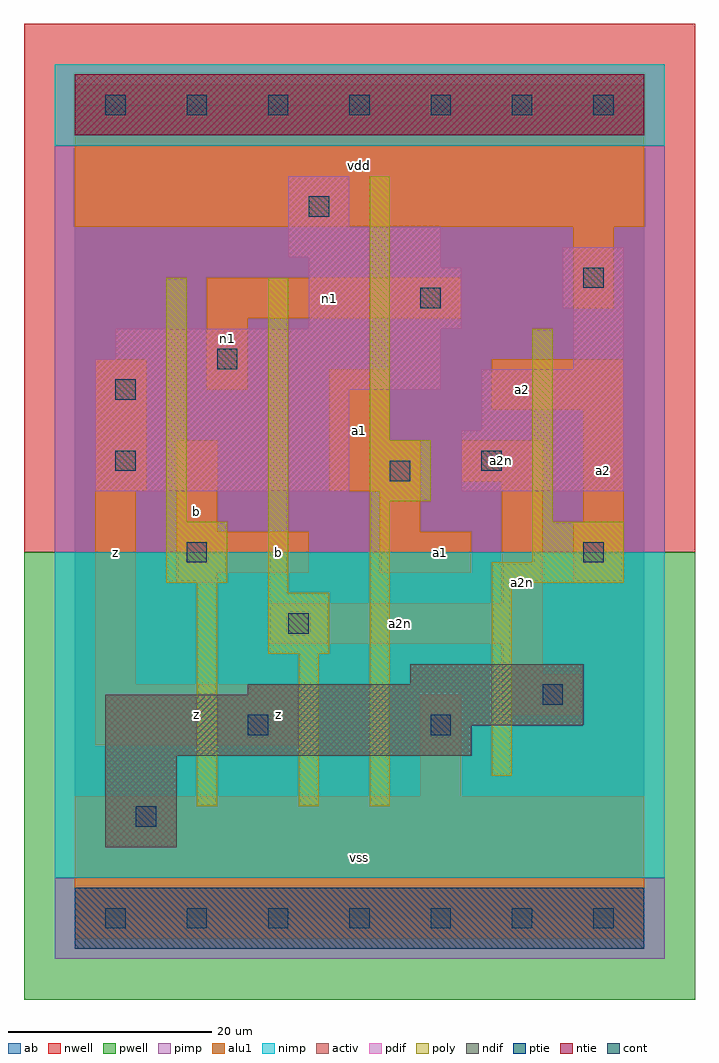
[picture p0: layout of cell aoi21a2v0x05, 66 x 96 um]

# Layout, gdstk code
import gdstk
lib = gdstk.Library(unit=1e-6, precision=1e-09)
def R(c, l, rs):  # rectangles x0, y0, x1, y1
    for r in rs: c.add(gdstk.rectangle(r[:2], r[2:], *l))
def A(c, l, x, y, w, h, nx, ny, dx, dy):  # array of equal rectangles
    R(c, l, [(x+i*dx, y+j*dy, x+i*dx+w, y+j*dy+h) for i in range(nx) for j in range(ny)])
ndif = (3, 0)
pdif = (4, 0)
ntie = (5, 0)
ptie = (6, 0)
cont = (25, 0)
pwell = (41, 0)
nwell = (42, 0)
activ = (43, 0)
pimp = (44, 0)
nimp = (45, 0)
poly = (46, 0)
alu1 = (49, 0)
ab = (63, 0)

aoi21a2v0x05 = lib.new_cell('aoi21a2v0x05')
R(aoi21a2v0x05, ndif, [(3,7,10,16), (3,16,39,19), (3,19,50,22), (17,22,50,23), (33,23,50,25)])
R(aoi21a2v0x05, pdif, [(2,42,27,52), (38,42,54,48), (40,48,54,54), (2,52,36,55), (49,54,54,60), (4,55,36,58), (23,58,38,64), (48,60,54,66), (23,64,36,65), (21,65,36,68), (21,68,27,73)])
R(aoi21a2v0x05, ntie, [(0,77,56,83)])
R(aoi21a2v0x05, ptie, [(0,-3,56,3)])
A(aoi21a2v0x05, cont, 3, -1, 2, 2, 7, 2, 8, 80)
R(aoi21a2v0x05, cont, [(6,9,8,11), (17,18,19,20), (35,18,37,20), (46,21,48,23), (21,28,23,30), (11,35,13,37), (50,35,52,37), (31,43,33,45), (4,44,6,46), (40,44,42,46), (4,51,6,53), (14,54,16,56), (34,60,36,62), (50,62,52,64), (23,69,25,71)])
R(aoi21a2v0x05, pwell, [(-5,-8,61,36)])
R(aoi21a2v0x05, nwell, [(-5,36,61,88)])
R(aoi21a2v0x05, activ, [(0,-3,56,3), (3,7,10,16), (3,16,39,19), (3,19,50,22), (17,22,50,23), (33,23,50,25), (2,42,27,52), (38,42,54,48), (40,48,54,54), (2,52,36,55), (49,54,54,60), (4,55,36,58), (23,58,38,64), (48,60,54,66), (23,64,36,65), (21,65,36,68), (21,68,27,73), (0,77,56,83)])
R(aoi21a2v0x05, pimp, [(-2,-4,58,4), (-2,36,58,76)])
R(aoi21a2v0x05, nimp, [(-2,4,58,36), (-2,76,58,84)])
R(aoi21a2v0x05, poly, [(12,11,14,33), (22,11,24,26), (29,11,31,41), (41,14,43,33), (19,26,25,32), (19,32,21,63), (9,33,15,39), (41,33,54,35), (45,35,54,39), (9,39,11,63), (45,39,47,58), (29,41,35,47), (29,47,31,73)])
R(aoi21a2v0x05, alu1, [(0,-2,56,12), (34,12,38,22), (2,17,22,23), (42,20,50,24), (2,23,6,42), (42,24,46,27), (19,27,46,31), (42,31,46,43), (10,33,14,34), (49,33,54,39), (10,34,23,38), (30,34,39,38), (10,38,14,47), (30,38,34,42), (50,39,54,50), (2,42,7,55), (25,42,34,47), (38,43,46,47), (25,47,31,54), (41,50,54,55), (13,52,17,59), (13,59,38,63), (49,60,53,68), (0,68,56,82)])
R(aoi21a2v0x05, ab, [(0,0,56,80)])
aoi21a2v0x05.add(gdstk.Label('n1', (15,57), layer=49, texttype=0))
aoi21a2v0x05.add(gdstk.Label('n1', (25,61), layer=49, texttype=0))
aoi21a2v0x05.add(gdstk.Label('a2n', (32,29), layer=49, texttype=0))
aoi21a2v0x05.add(gdstk.Label('a2n', (44,33), layer=49, texttype=0))
aoi21a2v0x05.add(gdstk.Label('a2n', (42,45), layer=49, texttype=0))
aoi21a2v0x05.add(gdstk.Label('z', (4,36), layer=49, texttype=0))
aoi21a2v0x05.add(gdstk.Label('z', (20,20), layer=49, texttype=0))
aoi21a2v0x05.add(gdstk.Label('z', (12,20), layer=49, texttype=0))
aoi21a2v0x05.add(gdstk.Label('b', (20,36), layer=49, texttype=0))
aoi21a2v0x05.add(gdstk.Label('b', (12,40), layer=49, texttype=0))
aoi21a2v0x05.add(gdstk.Label('vss', (28,6), layer=49, texttype=0))
aoi21a2v0x05.add(gdstk.Label('a1', (36,36), layer=49, texttype=0))
aoi21a2v0x05.add(gdstk.Label('a1', (28,48), layer=49, texttype=0))
aoi21a2v0x05.add(gdstk.Label('vdd', (28,74), layer=49, texttype=0))
aoi21a2v0x05.add(gdstk.Label('a2', (52,44), layer=49, texttype=0))
aoi21a2v0x05.add(gdstk.Label('a2', (44,52), layer=49, texttype=0))

lib.write_gds('aoi21a2v0x05.gds')
